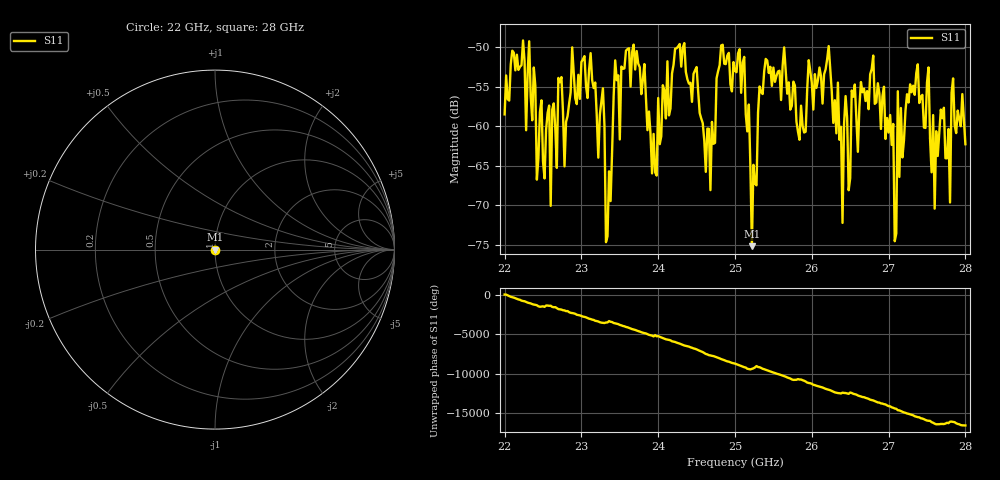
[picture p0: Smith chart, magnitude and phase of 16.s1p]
#  HZ  S  RI  R  50.00
! Rohde & Schwarz ZVA40 4Ports - Version 3.90 - 1145.1110k42 SN: 100403
! Date: 2023-10-04 07:03:20
! Measurement: S12
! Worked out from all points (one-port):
!   301 points, 22 GHz to 28 GHz, reference 50 ohm
!   lowest |S11| = -75.2 dB at 25.22 GHz (marker M1), VSWR 1.00, Z = 50 - j0.00436 ohm
!   |S11| at or under -10 dB: start of sweep to end of sweep
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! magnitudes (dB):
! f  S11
! 22 GHz  -58.5
! 22.32 GHz  -49.3
! 22.6 GHz  -70.1
! 22.76 GHz  -58.2
! 23.28 GHz  -55.2
! 23.32 GHz  -74.7
! 23.44 GHz  -51.7
! 23.5 GHz  -61.7
! 23.68 GHz  -49.7
! 23.98 GHz  -66.3
! 24.26 GHz  -49.9
! 24.68 GHz  -68.1
! 24.82 GHz  -49.8
! 25 GHz  -53.0
! 25.18 GHz  -57.3
! 25.22 GHz  -75.2
! 25.4 GHz  -51.5
! 25.76 GHz  -54.4
! 26.22 GHz  -49.9
! 26.4 GHz  -72.2
! 26.44 GHz  -56.2
! 26.5 GHz  -66.6
! 26.8 GHz  -51.1
! 27.06 GHz  -59.7
! 27.08 GHz  -74.6
! 27.12 GHz  -55.6
! 27.26 GHz  -57.0
! 28 GHz  -62.3
